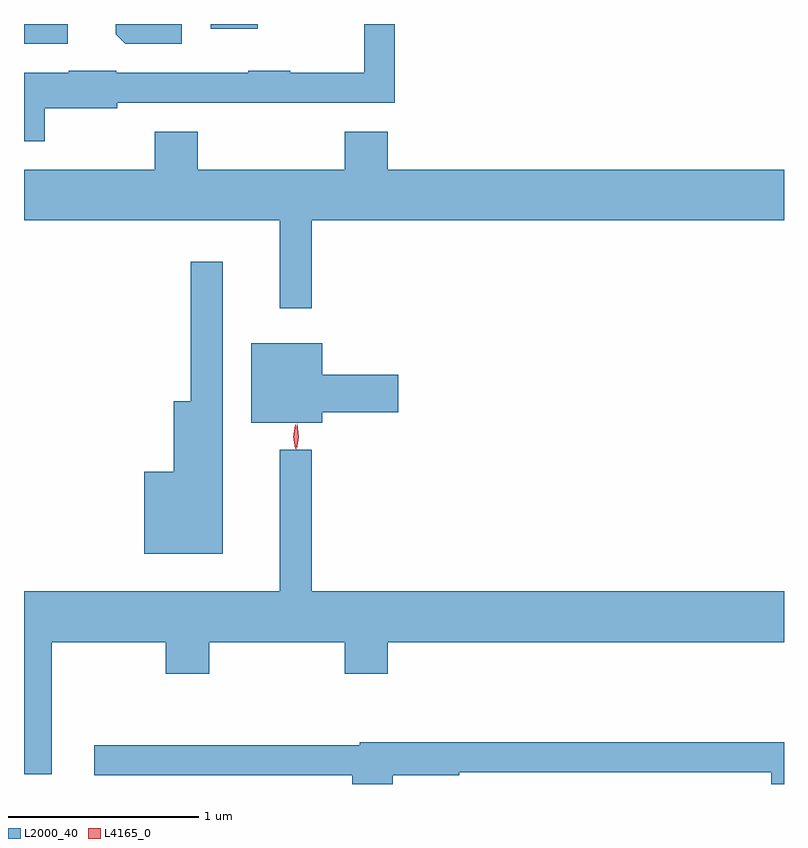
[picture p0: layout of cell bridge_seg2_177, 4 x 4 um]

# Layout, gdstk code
import gdstk
lib = gdstk.Library(unit=1e-6, precision=1e-09)
def R(c, l, rs):  # rectangles x0, y0, x1, y1
    for r in rs: c.add(gdstk.rectangle(r[:2], r[2:], *l))
def P(c, l, *ps):  # polygons
    for p in ps: c.add(gdstk.Polygon(p, *l))
L2000_40 = (2000, 40)
L4165_0 = (4165, 0)

bridge_seg2_177 = lib.new_cell('bridge_seg2_177')
R(bridge_seg2_177, L2000_40, [(817.394,1007.066,817.624,1007.17), (818.376,1007.146,818.624,1007.17)])
P(bridge_seg2_177, L2000_40, [(818.224,1007.17),(817.876,1007.17),(817.876,1007.117),(817.927,1007.066),(818.224,1007.066)],
  [(817.504,1006.726),(817.884,1006.726),(817.884,1006.756),(819.344,1006.756),(819.344,1007.17),(819.186,1007.17),(819.186,1006.914),(818.795,1006.914),(818.795,1006.924),(818.575,1006.924),(818.575,1006.914),(817.88,1006.914),(817.88,1006.924),(817.63,1006.924),(817.63,1006.914),(817.394,1006.914),(817.394,1006.553),(817.504,1006.553)],
  [(818.909,1006.136),(821.394,1006.136),(821.394,1006.404),(819.309,1006.404),(819.309,1006.604),(819.081,1006.604),(819.081,1006.404),(818.309,1006.404),(818.309,1006.604),(818.081,1006.604),(818.081,1006.404),(817.394,1006.404),(817.394,1006.136),(818.741,1006.136),(818.741,1005.673),(818.909,1005.673)],
  [(818.439,1005.918),(818.271,1005.918),(818.271,1005.184),(818.181,1005.184),(818.181,1004.814),(818.026,1004.814),(818.026,1004.381),(818.439,1004.381)],
  [(818.964,1005.126),(819.364,1005.126),(819.364,1005.324),(818.964,1005.324),(818.964,1005.489),(818.591,1005.489),(818.591,1005.071),(818.964,1005.071)],
  [(817.539,1003.916),(818.141,1003.916),(818.141,1003.751),(818.369,1003.751),(818.369,1003.916),(819.081,1003.916),(819.081,1003.751),(819.309,1003.751),(819.309,1003.916),(821.394,1003.916),(821.394,1004.184),(818.909,1004.184),(818.909,1004.928),(818.741,1004.928),(818.741,1004.184),(817.394,1004.184),(817.394,1003.221),(817.539,1003.221)],
  [(819.334,1003.216),(819.685,1003.216),(819.685,1003.231),(821.326,1003.231),(821.326,1003.17),(821.394,1003.17),(821.394,1003.389),(819.16,1003.389),(819.16,1003.374),(817.763,1003.374),(817.763,1003.216),(819.121,1003.216),(819.121,1003.17),(819.334,1003.17)])
P(bridge_seg2_177, L4165_0, [(818.83,1004.93),(818.83,1004.931),(818.821,1004.998),(818.831,1005.065),(818.832,1005.066),(818.832,1005.065),(818.841,1004.998),(818.83,1004.931)],
  [(818.822,1004.934),(818.822,1004.934),(818.812,1004.997),(818.822,1005.06),(818.822,1005.06),(818.823,1005.06),(818.832,1004.997),(818.823,1004.934)])

lib.write_gds('bridge_seg2_177.gds')
